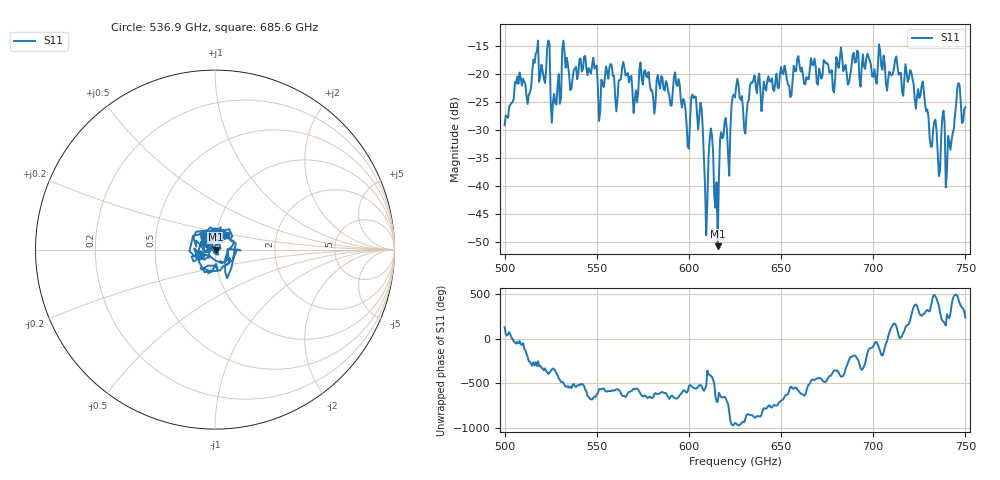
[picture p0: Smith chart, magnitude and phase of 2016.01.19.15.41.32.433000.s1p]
!Created with skrf (http://scikit-rf.org).
# GHz S RI R 50.0
!freq ReS11 ImS11
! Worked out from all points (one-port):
!   401 points, 500 GHz to 750 GHz, reference 50 ohm
!   lowest |S11| = -50.7 dB at 615.6 GHz (marker M1), VSWR 1.01, Z = 50.3 + j0.0517 ohm
!   |S11| at or under -10 dB: start of sweep to end of sweep
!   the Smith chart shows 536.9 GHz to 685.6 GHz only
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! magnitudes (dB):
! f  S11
! 500 GHz  -29.1
! 506.9 GHz  -20.5
! 513.1 GHz  -23.7
! 516.9 GHz  -16.3
! 523.1 GHz  -15.3
! 526.2 GHz  -24.9
! 531.2 GHz  -15.7
! 562.5 GHz  -21.1
! 593.8 GHz  -22.2
! 599.4 GHz  -33.0
! 602.5 GHz  -24.3
! 606.2 GHz  -25.2
! 609.4 GHz  -48.8
! 611.9 GHz  -29.7
! 615.6 GHz  -50.7
! 618.1 GHz  -31.5
! 621.9 GHz  -38.1
! 625 GHz  -24.2
! 630.6 GHz  -30.6
! 634.4 GHz  -21.6
! 656.2 GHz  -21.2
! 687.5 GHz  -20.2
! 718.8 GHz  -21.4
! 735.6 GHz  -38.2
! 737.5 GHz  -27.7
! 740.6 GHz  -31.0
! 746.2 GHz  -21.6
! 750 GHz  -25.9
